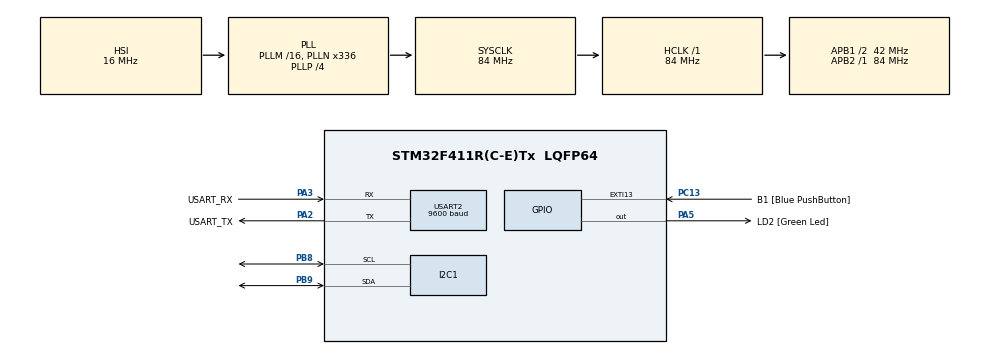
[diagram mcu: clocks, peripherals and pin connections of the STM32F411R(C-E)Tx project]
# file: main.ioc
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Mcu.Family=STM32F4
Mcu.Name=STM32F411R(C-E)Tx
Mcu.Package=LQFP64
NVIC.PriorityGroup=NVIC_PRIORITYGROUP_0
PA13.GPIO_Label=TMS
PA13.Signal=SYS_JTMS-SWDIO
PA14.GPIO_Label=TCK
PA14.Signal=SYS_JTCK-SWCLK
PA2.GPIO_Label=USART_TX
PA2.Mode=Asynchronous
PA2.Signal=USART2_TX
PA3.GPIO_Label=USART_RX
PA3.Mode=Asynchronous
PA3.Signal=USART2_RX
PA5.GPIO_Label=LD2 [Green Led]
PA5.Signal=GPIO_Output
PB3.GPIO_Label=SWO
PB3.Signal=SYS_JTDO-SWO
PB8.Mode=I2C
PB8.Signal=I2C1_SCL
PB9.Mode=I2C
PB9.Signal=I2C1_SDA
PC13-ANTI_TAMP.GPIO_Label=B1 [Blue PushButton]
PC13-ANTI_TAMP.GPIO_ModeDefaultEXTI=GPIO_MODE_IT_FALLING
PC13-ANTI_TAMP.Signal=GPXTI13
PC14-OSC32_IN.Signal=RCC_OSC32_IN
PC15-OSC32_OUT.Signal=RCC_OSC32_OUT
PH0\ -\ OSC_IN.Signal=RCC_OSC_IN
PH1\ -\ OSC_OUT.Signal=RCC_OSC_OUT
ProjectManager.HeapSize=0x200
ProjectManager.StackSize=0x400
ProjectManager.TargetToolchain=Makefile
RCC.48MHZClocksFreq_Value=84000000
RCC.AHBFreq_Value=84000000
RCC.APB1CLKDivider=RCC_HCLK_DIV2
RCC.APB1Freq_Value=42000000
RCC.APB1TimFreq_Value=84000000
RCC.APB2Freq_Value=84000000
RCC.APB2TimFreq_Value=84000000
RCC.CortexFreq_Value=84000000
RCC.FLatency-AdvancedSettings=FLASH_LATENCY_2
RCC.HCLKFreq_Value=84000000
RCC.HSE_VALUE=8000000
RCC.HSI_VALUE=16000000
RCC.LSE_VALUE=32768
RCC.PLLN=336
RCC.PLLP=RCC_PLLP_DIV4
RCC.SYSCLKFreq_VALUE=84000000
RCC.SYSCLKSource=RCC_SYSCLKSOURCE_PLLCLK
RCC.VCOOutputFreq_Value=336000000
USART2.BaudRate=9600
USART2.VirtualMode=VM_ASYNC
board=NUCLEO-F411RE

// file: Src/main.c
#include "main.h"
#include "stm32f4xx_hal.h"

/* USER CODE BEGIN Includes */
#include "ssd1306_tests.h"
/* USER CODE END Includes */

I2C_HandleTypeDef hi2c1;

UART_HandleTypeDef huart2;

/* USER CODE BEGIN PV */
/* Private variables ---------------------------------------------------------*/

/* USER CODE END PV */

void SystemClock_Config(void);
static void MX_GPIO_Init(void);
static void MX_I2C1_Init(void);
static void MX_USART2_UART_Init(void);

/* USER CODE BEGIN PFP */
/* Private function prototypes -----------------------------------------------*/

/* USER CODE END PFP */

/* USER CODE BEGIN 0 */
#include <string.h>

void I2C_Scan() {
    char info[] = "Scanning I2C bus...\r\n";
    HAL_UART_Transmit(&huart2, (uint8_t*)info, strlen(info), HAL_MAX_DELAY);

    HAL_StatusTypeDef res;
    for(uint16_t i = 0; i < 128; i++) {
        res = HAL_I2C_IsDeviceReady(&hi2c1, i << 1, 1, 10);
        if(res == HAL_OK) {
            char msg[64];
            snprintf(msg, sizeof(msg), "0x%02X", i);
            HAL_UART_Transmit(&huart2, (uint8_t*)msg, strlen(msg), HAL_MAX_DELAY);
        } else {
            HAL_UART_Transmit(&huart2, (uint8_t*)".", 1, HAL_MAX_DELAY);
        }
    }

    HAL_UART_Transmit(&huart2, (uint8_t*)"\r\n", 2, HAL_MAX_DELAY);
}

void init() {
    I2C_Scan();
	ssd1306_TestAll();
}

void loop() {
	HAL_Delay(100);
}

/* USER CODE END 0 */

int main(void)
{

  /* MCU Configuration----------------------------------------------------------*/

  /* Reset of all peripherals, Initializes the Flash interface and the Systick. */
  HAL_Init();

  /* Configure the system clock */
  SystemClock_Config();

  /* Initialize all configured peripherals */
  MX_GPIO_Init();
  MX_I2C1_Init();
  MX_USART2_UART_Init();

  /* Infinite loop */
  /* USER CODE BEGIN WHILE */
  init();
  while (1)
  {
    loop();
  /* USER CODE END WHILE */

  }

}

/** System Clock Configuration
*/
void SystemClock_Config(void)
{

  RCC_OscInitTypeDef RCC_OscInitStruct;
  RCC_ClkInitTypeDef RCC_ClkInitStruct;

    /**Configure the main internal regulator output voltage
    */
  __HAL_RCC_PWR_CLK_ENABLE();

  __HAL_PWR_VOLTAGESCALING_CONFIG(PWR_REGULATOR_VOLTAGE_SCALE1);

    /**Initializes the CPU, AHB and APB busses clocks
    */
  RCC_OscInitStruct.OscillatorType = RCC_OSCILLATORTYPE_HSI;
  RCC_OscInitStruct.HSIState = RCC_HSI_ON;
  RCC_OscInitStruct.HSICalibrationValue = 16;
  RCC_OscInitStruct.PLL.PLLState = RCC_PLL_ON;
  RCC_OscInitStruct.PLL.PLLSource = RCC_PLLSOURCE_HSI;
  RCC_OscInitStruct.PLL.PLLM = 16;
  RCC_OscInitStruct.PLL.PLLN = 336;
  RCC_OscInitStruct.PLL.PLLP = RCC_PLLP_DIV4;
  RCC_OscInitStruct.PLL.PLLQ = 4;
  if (HAL_RCC_OscConfig(&RCC_OscInitStruct) != HAL_OK)
  {
    _Error_Handler(__FILE__, __LINE__);
  }

    /**Initializes the CPU, AHB and APB busses clocks
    */
  RCC_ClkInitStruct.ClockType = RCC_CLOCKTYPE_HCLK|RCC_CLOCKTYPE_SYSCLK
                              |RCC_CLOCKTYPE_PCLK1|RCC_CLOCKTYPE_PCLK2;
  RCC_ClkInitStruct.SYSCLKSource = RCC_SYSCLKSOURCE_PLLCLK;
  RCC_ClkInitStruct.AHBCLKDivider = RCC_SYSCLK_DIV1;
  RCC_ClkInitStruct.APB1CLKDivider = RCC_HCLK_DIV2;
  RCC_ClkInitStruct.APB2CLKDivider = RCC_HCLK_DIV1;

  if (HAL_RCC_ClockConfig(&RCC_ClkInitStruct, FLASH_LATENCY_2) != HAL_OK)
  {
    _Error_Handler(__FILE__, __LINE__);
  }

    /**Configure the Systick interrupt time
    */
  HAL_SYSTICK_Config(HAL_RCC_GetHCLKFreq()/1000);

    /**Configure the Systick
    */
  HAL_SYSTICK_CLKSourceConfig(SYSTICK_CLKSOURCE_HCLK);

  /* SysTick_IRQn interrupt configuration */
  HAL_NVIC_SetPriority(SysTick_IRQn, 0, 0);
}

/* I2C1 init function */
static void MX_I2C1_Init(void)
{

  hi2c1.Instance = I2C1;
//  hi2c1.Init.ClockSpeed = 100000; // 9 FPS
//  hi2c1.Init.ClockSpeed = 100000 * 2; // 19 FPS
  hi2c1.Init.ClockSpeed = 100000 * 4; // 37 FPS
  hi2c1.Init.DutyCycle = I2C_DUTYCYCLE_2;
  hi2c1.Init.OwnAddress1 = 0;
  hi2c1.Init.AddressingMode = I2C_ADDRESSINGMODE_7BIT;
  hi2c1.Init.DualAddressMode = I2C_DUALADDRESS_DISABLE;
  hi2c1.Init.OwnAddress2 = 0;
  hi2c1.Init.GeneralCallMode = I2C_GENERALCALL_DISABLE;
  hi2c1.Init.NoStretchMode = I2C_NOSTRETCH_DISABLE;
  if (HAL_I2C_Init(&hi2c1) != HAL_OK)
  {
    _Error_Handler(__FILE__, __LINE__);
  }

}

/* USART2 init function */
static void MX_USART2_UART_Init(void)
{

  huart2.Instance = USART2;
  huart2.Init.BaudRate = 9600;
  huart2.Init.WordLength = UART_WORDLENGTH_8B;
  huart2.Init.StopBits = UART_STOPBITS_1;
  huart2.Init.Parity = UART_PARITY_NONE;
  huart2.Init.Mode = UART_MODE_TX_RX;
  huart2.Init.HwFlowCtl = UART_HWCONTROL_NONE;
  huart2.Init.OverSampling = UART_OVERSAMPLING_16;
  if (HAL_UART_Init(&huart2) != HAL_OK)
  {
    _Error_Handler(__FILE__, __LINE__);
  }

}

/** Configure pins as
        * Analog
        * Input
        * Output
        * EVENT_OUT
        * EXTI
*/
static void MX_GPIO_Init(void)
{

  GPIO_InitTypeDef GPIO_InitStruct;

  /* GPIO Ports Clock Enable */
  __HAL_RCC_GPIOC_CLK_ENABLE();
  __HAL_RCC_GPIOH_CLK_ENABLE();
  __HAL_RCC_GPIOA_CLK_ENABLE();
  __HAL_RCC_GPIOB_CLK_ENABLE();

  /*Configure GPIO pin Output Level */
  HAL_GPIO_WritePin(LD2_GPIO_Port, LD2_Pin, GPIO_PIN_RESET);

  /*Configure GPIO pin : B1_Pin */
  GPIO_InitStruct.Pin = B1_Pin;
  GPIO_InitStruct.Mode = GPIO_MODE_IT_FALLING;
  GPIO_InitStruct.Pull = GPIO_NOPULL;
  HAL_GPIO_Init(B1_GPIO_Port, &GPIO_InitStruct);

  /*Configure GPIO pin : LD2_Pin */
  GPIO_InitStruct.Pin = LD2_Pin;
  GPIO_InitStruct.Mode = GPIO_MODE_OUTPUT_PP;
  GPIO_InitStruct.Pull = GPIO_NOPULL;
  GPIO_InitStruct.Speed = GPIO_SPEED_FREQ_LOW;
  HAL_GPIO_Init(LD2_GPIO_Port, &GPIO_InitStruct);

}

void _Error_Handler(char * file, int line)
{
  while(1)
  {
  }
}

/************************ (C) COPYRIGHT STMicroelectronics *****END OF FILE****/
